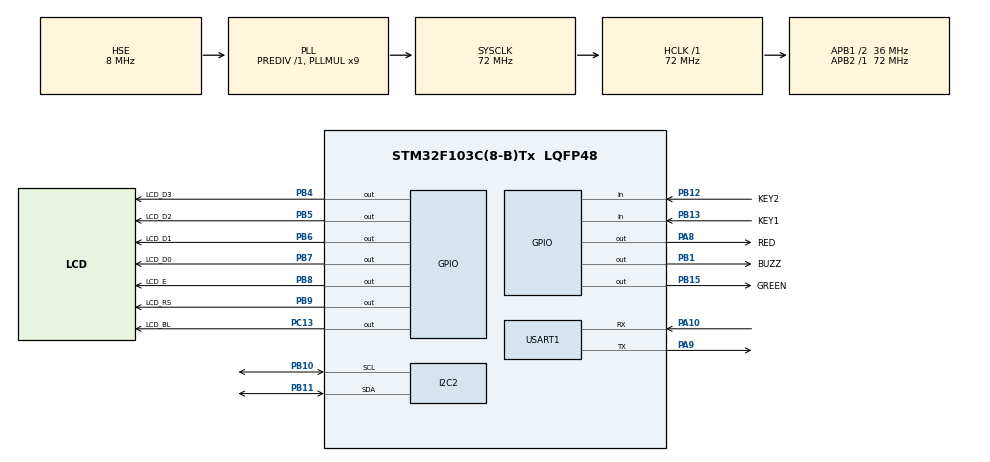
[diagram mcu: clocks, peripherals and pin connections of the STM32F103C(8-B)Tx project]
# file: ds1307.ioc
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Mcu.Family=STM32F1
Mcu.Name=STM32F103C(8-B)Tx
Mcu.Package=LQFP48
NVIC.PriorityGroup=NVIC_PRIORITYGROUP_4
PA10.Mode=Asynchronous
PA10.Signal=USART1_RX
PA8.GPIO_Label=RED
PA8.Signal=GPIO_Output
PA9.Mode=Asynchronous
PA9.Signal=USART1_TX
PB1.GPIO_Label=BUZZ
PB1.Signal=GPIO_Output
PB10.Mode=I2C
PB10.Signal=I2C2_SCL
PB11.Mode=I2C
PB11.Signal=I2C2_SDA
PB12.GPIO_Label=KEY2
PB12.GPIO_PuPd=GPIO_PULLUP
PB12.Signal=GPIO_Input
PB13.GPIO_Label=KEY1
PB13.GPIO_PuPd=GPIO_PULLUP
PB13.Signal=GPIO_Input
PB15.GPIO_Label=GREEN
PB15.Signal=GPIO_Output
PB4.GPIO_Label=LCD_D3
PB4.Signal=GPIO_Output
PB5.GPIO_Label=LCD_D2
PB5.Signal=GPIO_Output
PB6.GPIO_Label=LCD_D1
PB6.Signal=GPIO_Output
PB7.GPIO_Label=LCD_D0
PB7.Signal=GPIO_Output
PB8.GPIO_Label=LCD_E
PB8.Signal=GPIO_Output
PB9.GPIO_Label=LCD_RS
PB9.Signal=GPIO_Output
PC13-TAMPER-RTC.GPIO_Label=LCD_BL
PC13-TAMPER-RTC.Signal=GPIO_Output
PD0-OSC_IN.Mode=HSE-External-Oscillator
PD0-OSC_IN.Signal=RCC_OSC_IN
PD1-OSC_OUT.Mode=HSE-External-Oscillator
PD1-OSC_OUT.Signal=RCC_OSC_OUT
ProjectManager.HeapSize=0x200
ProjectManager.StackSize=0x400
ProjectManager.TargetToolchain=STM32CubeIDE
RCC.AHBFreq_Value=72000000
RCC.APB1CLKDivider=RCC_HCLK_DIV2
RCC.APB1Freq_Value=36000000
RCC.APB1TimFreq_Value=72000000
RCC.APB2Freq_Value=72000000
RCC.APB2TimFreq_Value=72000000
RCC.HCLKFreq_Value=72000000
RCC.PLLMUL=RCC_PLL_MUL9
RCC.PLLSourceVirtual=RCC_PLLSOURCE_HSE
RCC.SYSCLKFreq_VALUE=72000000
RCC.SYSCLKSource=RCC_SYSCLKSOURCE_PLLCLK
RCC.USBFreq_Value=72000000
USART1.VirtualMode=VM_ASYNC
VP_SYS_VS_ND.Mode=No_Debug
board=custom

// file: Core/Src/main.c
/* USER CODE BEGIN Header */
/**
  ******************************************************************************
  * @file           : main.c
  * @brief          : Main program body
  ******************************************************************************
  * @attention
  *
  * Copyright (c) 2026 STMicroelectronics.
  * All rights reserved.
  *
  ******************************************************************************
  */
/* USER CODE END Header */

#include "main.h"

/* USER CODE BEGIN Includes */

#include <stdio.h>
#include <string.h>

/* USER CODE END Includes */

/* USER CODE BEGIN PD */

#define BL_ON  HAL_GPIO_WritePin(LCD_BL_GPIO_Port, LCD_BL_Pin, GPIO_PIN_SET)
#define BL_OFF HAL_GPIO_WritePin(LCD_BL_GPIO_Port, LCD_BL_Pin, GPIO_PIN_RESET)

/* USER CODE END PD */

I2C_HandleTypeDef hi2c2;

UART_HandleTypeDef huart1;

/* USER CODE BEGIN PV */

volatile int sec;
volatile int minute;
volatile int hour;

volatile int day;
volatile int month;
volatile int year;
volatile int dow;

/* USER CODE END PV */

void SystemClock_Config(void);

static void MX_GPIO_Init(void);
static void MX_USART1_UART_Init(void);
static void MX_I2C2_Init(void);

/* USER CODE BEGIN PFP */

void lcd_ins(unsigned char c);
void lcd_putch(char c);
void lcd_clear(void);
void lcd_puts(const char *s);
void lcd_goto(int pos);
void lcd_init(void);

unsigned char b2d(unsigned char d);
unsigned char d2b(unsigned char d);

void startRTC(void);
uint8_t RTC_Check(void);
uint8_t RTC_IsConnected(void);

void writeRTC(void);
HAL_StatusTypeDef readRTC(void);

const char* getDayName(uint8_t day);

void LCD_Display_DateTime(void);

void readMemory(void);
void writeMemory(void);
void initCount(void);

void UART_Receive_String(char *buffer, uint16_t size);
void LCD_Display_UART_String(char *str);

/* USER CODE END PFP */

/* USER CODE BEGIN 0 */

/* ============================================================
   BCD TO DECIMAL
   ============================================================ */

unsigned char b2d(unsigned char d)
{
    return ((d & 0x0F) + (((d & 0xF0) >> 4) * 10));
}

/* ============================================================
   DECIMAL TO BCD
   ============================================================ */

unsigned char d2b(unsigned char d)
{
    return (((d / 10) << 4) & 0xF0) | ((d % 10) & 0x0F);
}

/* ============================================================
   START RTC
   ============================================================ */

void startRTC(void)
{
    uint8_t ss;

    HAL_I2C_Mem_Read(&hi2c2,
                     0xD0,
                     0x00,
                     I2C_MEMADD_SIZE_8BIT,
                     &ss,
                     1,
                     500);

    /* Clear CH bit */
    ss = ss & 0x7F;

    HAL_I2C_Mem_Write(&hi2c2,
                      0xD0,
                      0x00,
                      I2C_MEMADD_SIZE_8BIT,
                      &ss,
                      1,
                      500);
}

/* ============================================================
   RTC CHECK
   ============================================================ */

uint8_t RTC_Check(void)
{
    if (HAL_I2C_IsDeviceReady(&hi2c2,
                              0xD0,
                              3,
                              100) == HAL_OK)
    {
        return 1;
    }

    return 0;
}

/* ============================================================
   RTC WRITE
   ============================================================ */

void writeRTC(void)
{
    uint8_t dd;
    uint8_t mm;
    uint8_t yy;
    uint8_t hh;
    uint8_t mts;
    uint8_t ss;
    uint8_t day_of_week;

    dd = d2b(day);

    mm = d2b(month);

    /* Convert year to 00-99 */

    yy = year;

    if (yy >= 2000)
    {
        yy = yy - 2000;
    }

    yy = d2b(yy);

    hh  = d2b(hour);
    mts = d2b(minute);
    ss  = d2b(sec);

    /* Day of week must be 1-7 */

    day_of_week = (uint8_t)dow;

    /* Seconds */

    HAL_I2C_Mem_Write(&hi2c2,
                      0xD0,
                      0x00,
                      I2C_MEMADD_SIZE_8BIT,
                      &ss,
                      1,
                      500);

    /* Minutes */

    HAL_I2C_Mem_Write(&hi2c2,
                      0xD0,
                      0x01,
                      I2C_MEMADD_SIZE_8BIT,
                      &mts,
                      1,
                      500);

    /* Hours */

    HAL_I2C_Mem_Write(&hi2c2,
                      0xD0,
                      0x02,
                      I2C_MEMADD_SIZE_8BIT,
                      &hh,
                      1,
                      500);

    /* Day of week */

    HAL_I2C_Mem_Write(&hi2c2,
                      0xD0,
                      0x03,
                      I2C_MEMADD_SIZE_8BIT,
                      &day_of_week,
                      1,
                      500);

    /* Date */

    HAL_I2C_Mem_Write(&hi2c2,
                      0xD0,
                      0x04,
                      I2C_MEMADD_SIZE_8BIT,
                      &dd,
                      1,
                      500);

    /* Month */

    HAL_I2C_Mem_Write(&hi2c2,
                      0xD0,
                      0x05,
                      I2C_MEMADD_SIZE_8BIT,
                      &mm,
                      1,
                      500);

    /* Year */

    HAL_I2C_Mem_Write(&hi2c2,
                      0xD0,
                      0x06,
                      I2C_MEMADD_SIZE_8BIT,
                      &yy,
                      1,
                      500);
}

/* ============================================================
   RTC READ
   ============================================================ */

HAL_StatusTypeDef readRTC(void)
{
    uint8_t data[7];

    HAL_StatusTypeDef status;

    status = HAL_I2C_Mem_Read(&hi2c2,
                              0xD0,
                              0x00,
                              I2C_MEMADD_SIZE_8BIT,
                              data,
                              7,
                              500);

    if (status != HAL_OK)
    {
        return status;
    }

    /* Seconds */

    sec = b2d(data[0] & 0x7F);

    /* Minutes */

    minute = b2d(data[1] & 0x7F);

    /* Hours */

    hour = b2d(data[2] & 0x3F);

    /* Day of week */

    dow = data[3] & 0x07;

    /* Date */

    day = b2d(data[4] & 0x3F);

    /* Month */

    month = b2d(data[5] & 0x1F);

    /* Year */

    year = b2d(data[6]) + 2000;

    return HAL_OK;
}

/* ============================================================
   DAY NAME
   ============================================================ */

const char* getDayName(uint8_t day)
{
    switch(day)
    {
        case 1:
            return "SUN";

        case 2:
            return "MON";

        case 3:
            return "TUE";

        case 4:
            return "WED";

        case 5:
            return "THU";

        case 6:
            return "FRI";

        case 7:
            return "SAT";

        default:
            return "---";
    }
}

/* ============================================================
   RTC CONNECTION CHECK
   ============================================================ */

uint8_t RTC_IsConnected(void)
{
    if (HAL_I2C_IsDeviceReady(&hi2c2,
                              0xD0,
                              3,
                              100) == HAL_OK)
    {
        return 1;
    }

    return 0;
}

/* ============================================================
   LCD DISPLAY DATE + TIME
   ============================================================ */

void LCD_Display_DateTime(void)
{
    char line1[17];
    char line2[17];

    /*
       First line:
       DD/MM/YYYY DAY

       Example:
       24/09/2026 THU
    */

    snprintf(line1,
             sizeof(line1),
             "%02d/%02d/%04d %s",
             day,
             month,
             year,
             getDayName(dow));

    /*
       Second line:
       HH:MM:SS

       Example:
       15:09:00
    */

    snprintf(line2,
             sizeof(line2),
             "%02d:%02d:%02d",
             hour,
             minute,
             sec);

    /* Clear LCD */

    lcd_clear();

    /* First line */

    lcd_goto(0);

    lcd_puts(line1);

    /* Second line */

    lcd_goto(0x40);

    lcd_puts(line2);
}

/* ============================================================
   EEPROM SETTINGS
   ============================================================ */

struct SETTING
{
    int count;
};

struct SETTING settings;

/* ============================================================
   EEPROM READ
   ============================================================ */

void readMemory(void)
{
    HAL_I2C_Mem_Read(&hi2c2,
                     0xA0,
                     0,
                     I2C_MEMADD_SIZE_16BIT,
                     (uint8_t*)&settings,
                     sizeof(settings),
                     50);
}

/* ============================================================
   EEPROM WRITE
   ============================================================ */

void writeMemory(void)
{
    HAL_I2C_Mem_Write(&hi2c2,
                      0xA0,
                      0,
                      I2C_MEMADD_SIZE_16BIT,
                      (uint8_t*)&settings,
                      sizeof(settings),
                      50);
}

/* ============================================================
   EEPROM COUNT INITIALIZATION
   ============================================================ */

void initCount(void)
{
    settings.count = 0;

    writeMemory();
}

/* ============================================================
   LCD COMMAND
   4-BIT MODE
   ============================================================ */

void lcd_ins(unsigned char c)
{
    /* RS = 0 for command */

    HAL_GPIO_WritePin(LCD_RS_GPIO_Port,
                      LCD_RS_Pin,
                      GPIO_PIN_RESET);

    /* Higher nibble */

    HAL_GPIO_WritePin(LCD_D0_GPIO_Port,
                      LCD_D0_Pin,
                      (c & 0x10) ? GPIO_PIN_SET : GPIO_PIN_RESET);

    HAL_GPIO_WritePin(LCD_D1_GPIO_Port,
                      LCD_D1_Pin,
                      (c & 0x20) ? GPIO_PIN_SET : GPIO_PIN_RESET);

    HAL_GPIO_WritePin(LCD_D2_GPIO_Port,
                      LCD_D2_Pin,
                      (c & 0x40) ? GPIO_PIN_SET : GPIO_PIN_RESET);

    HAL_GPIO_WritePin(LCD_D3_GPIO_Port,
                      LCD_D3_Pin,
                      (c & 0x80) ? GPIO_PIN_SET : GPIO_PIN_RESET);

    /* Enable */

    HAL_GPIO_WritePin(LCD_E_GPIO_Port,
                      LCD_E_Pin,
                      GPIO_PIN_SET);

    HAL_Delay(1);

    HAL_GPIO_WritePin(LCD_E_GPIO_Port,
                      LCD_E_Pin,
                      GPIO_PIN_RESET);

    /* Lower nibble */

    HAL_GPIO_WritePin(LCD_D0_GPIO_Port,
                      LCD_D0_Pin,
                      (c & 0x01) ? GPIO_PIN_SET : GPIO_PIN_RESET);

    HAL_GPIO_WritePin(LCD_D1_GPIO_Port,
                      LCD_D1_Pin,
                      (c & 0x02) ? GPIO_PIN_SET : GPIO_PIN_RESET);

    HAL_GPIO_WritePin(LCD_D2_GPIO_Port,
                      LCD_D2_Pin,
                      (c & 0x04) ? GPIO_PIN_SET : GPIO_PIN_RESET);

    HAL_GPIO_WritePin(LCD_D3_GPIO_Port,
                      LCD_D3_Pin,
                      (c & 0x08) ? GPIO_PIN_SET : GPIO_PIN_RESET);

    /* Enable */

    HAL_GPIO_WritePin(LCD_E_GPIO_Port,
                      LCD_E_Pin,
                      GPIO_PIN_SET);

    HAL_Delay(1);

    HAL_GPIO_WritePin(LCD_E_GPIO_Port,
                      LCD_E_Pin,
                      GPIO_PIN_RESET);
}

/* ============================================================
   LCD CHARACTER
   ============================================================ */

void lcd_putch(char c)
{
    /* RS = 1 for data */

    HAL_GPIO_WritePin(LCD_RS_GPIO_Port,
                      LCD_RS_Pin,
                      GPIO_PIN_SET);

    /* Higher nibble */

    HAL_GPIO_WritePin(LCD_D0_GPIO_Port,
                      LCD_D0_Pin,
                      (c & 0x10) ? GPIO_PIN_SET : GPIO_PIN_RESET);

    HAL_GPIO_WritePin(LCD_D1_GPIO_Port,
                      LCD_D1_Pin,
                      (c & 0x20) ? GPIO_PIN_SET : GPIO_PIN_RESET);

    HAL_GPIO_WritePin(LCD_D2_GPIO_Port,
                      LCD_D2_Pin,
                      (c & 0x40) ? GPIO_PIN_SET : GPIO_PIN_RESET);

    HAL_GPIO_WritePin(LCD_D3_GPIO_Port,
                      LCD_D3_Pin,
                      (c & 0x80) ? GPIO_PIN_SET : GPIO_PIN_RESET);

    HAL_GPIO_WritePin(LCD_E_GPIO_Port,
                      LCD_E_Pin,
                      GPIO_PIN_SET);

    HAL_Delay(1);

    HAL_GPIO_WritePin(LCD_E_GPIO_Port,
                      LCD_E_Pin,
                      GPIO_PIN_RESET);

    /* Lower nibble */

    HAL_GPIO_WritePin(LCD_D0_GPIO_Port,
                      LCD_D0_Pin,
                      (c & 0x01) ? GPIO_PIN_SET : GPIO_PIN_RESET);

    HAL_GPIO_WritePin(LCD_D1_GPIO_Port,
                      LCD_D1_Pin,
                      (c & 0x02) ? GPIO_PIN_SET : GPIO_PIN_RESET);

    HAL_GPIO_WritePin(LCD_D2_GPIO_Port,
                      LCD_D2_Pin,
                      (c & 0x04) ? GPIO_PIN_SET : GPIO_PIN_RESET);

    HAL_GPIO_WritePin(LCD_D3_GPIO_Port,
                      LCD_D3_Pin,
                      (c & 0x08) ? GPIO_PIN_SET : GPIO_PIN_RESET);

    HAL_GPIO_WritePin(LCD_E_GPIO_Port,
                      LCD_E_Pin,
                      GPIO_PIN_SET);

    HAL_Delay(1);

    HAL_GPIO_WritePin(LCD_E_GPIO_Port,
                      LCD_E_Pin,
                      GPIO_PIN_RESET);
}

/* ============================================================
   LCD CLEAR
   ============================================================ */

void lcd_clear(void)
{
    lcd_ins(0x01);

    HAL_Delay(2);
}

/* ============================================================
   LCD STRING
   ============================================================ */

void lcd_puts(const char *s)
{
    while (*s)
    {
        lcd_putch(*s);

        s++;

        HAL_Delay(1);
    }
}

/* ============================================================
   LCD GOTO
   ============================================================ */

void lcd_goto(int pos)
{
    lcd_ins(0x80 + pos);
}

/* ============================================================
   LCD INITIALIZATION
   ============================================================ */

void lcd_init(void)
{
    HAL_Delay(20);

    lcd_ins(0x03);

    HAL_Delay(5);

    lcd_ins(0x03);

    HAL_Delay(5);

    lcd_ins(0x03);

    HAL_Delay(1);

    lcd_ins(0x02);

    HAL_Delay(1);

    /* 4-bit, 2-line, 5x7 font */

    lcd_ins(0x28);

    /* Display ON, cursor OFF, blink OFF */

    lcd_ins(0x0C);

    /* Clear */

    lcd_ins(0x01);

    HAL_Delay(2);

    /* Entry mode */

    lcd_ins(0x06);
}

/* ============================================================
   UART STRING RECEIVE
   ============================================================ */

void UART_Receive_String(char *buffer, uint16_t size)
{
    uint16_t i = 0;

    uint8_t ch;

    /* Wait for first actual character */

    while (1)
    {
        HAL_UART_Receive(&huart1,
                         &ch,
                         1,
                         HAL_MAX_DELAY);

        if (ch != '\r' && ch != '\n')
        {
            break;
        }
    }

    /* Receive until ENTER */

    while (i < size - 1)
    {
        buffer[i++] = ch;

        HAL_UART_Receive(&huart1,
                         &ch,
                         1,
                         HAL_MAX_DELAY);

        if (ch == '\r' || ch == '\n')
        {
            break;
        }
    }

    /* Null terminate */

    buffer[i] = '\0';

    /* Flush extra characters */

    if (ch != '\r' && ch != '\n')
    {
        while (1)
        {
            HAL_UART_Receive(&huart1,
                             &ch,
                             1,
                             HAL_MAX_DELAY);

            if (ch == '\r' || ch == '\n')
            {
                break;
            }
        }
    }
}

/* ============================================================
   DISPLAY UART STRING ON LCD
   ============================================================ */

void LCD_Display_UART_String(char *str)
{
    uint8_t i = 0;

    lcd_clear();

    /* First line */

    lcd_goto(0);

    while (str[i] != '\0' && i < 16)
    {
        lcd_putch(str[i]);

        i++;
    }

    /* Second line */

    lcd_goto(0x40);

    while (str[i] != '\0' && i < 32)
    {
        lcd_putch(str[i]);

        i++;
    }
}

/* USER CODE END 0 */

int main(void)
{
    /* USER CODE BEGIN 1 */

    char str[128];

    /* Avoid unused-variable warning */
    (void)str;

    /* USER CODE END 1 */

    /* MCU Configuration */

    HAL_Init();

    /* Configure system clock */

    SystemClock_Config();

    /* Initialize peripherals */

    MX_GPIO_Init();

    MX_USART1_UART_Init();

    MX_I2C2_Init();

    /* USER CODE BEGIN 2 */

    /* ========================================================
       LCD INITIALIZATION
       ======================================================== */

    lcd_init();

    lcd_ins(0x0C);

    /* ========================================================
       LCD BACKLIGHT ON
       ======================================================== */

    BL_ON;

    /* ========================================================
       START RTC
       ======================================================== */

    startRTC();

    /* ========================================================
       CHECK RTC
       ======================================================== */

    if (RTC_IsConnected())
    {
        lcd_clear();

        lcd_goto(0);

        lcd_puts("RTC CONNECTED");

        HAL_Delay(1000);
    }
    else
    {
        lcd_clear();

        lcd_goto(0);

        lcd_puts("RTC NOT FOUND");

        HAL_Delay(2000);
    }

    /* ========================================================
       READ RTC
       ======================================================== */

    readRTC();

    /* ========================================================
       EEPROM
       ======================================================== */

    readMemory();

    settings.count++;

    writeMemory();

    /* USER CODE END 2 */

    /* Infinite loop */

    while (1)
    {
        /* ====================================================
           KEY1
           RED LED + BUZZER + RESET EEPROM COUNT
           ==================================================== */

        if (HAL_GPIO_ReadPin(KEY1_GPIO_Port,
                             KEY1_Pin) == GPIO_PIN_RESET)
        {
            HAL_GPIO_WritePin(RED_GPIO_Port,
                              RED_Pin,
                              GPIO_PIN_SET);

            HAL_GPIO_WritePin(BUZZ_GPIO_Port,
                              BUZZ_Pin,
                              GPIO_PIN_SET);

            settings.count = 0;

            writeMemory();

            HAL_UART_Transmit(&huart1,
                              (uint8_t*)"COUNT RESET\r\n",
                              strlen("COUNT RESET\r\n"),
                              500);
        }
        else
        {
            HAL_GPIO_WritePin(RED_GPIO_Port,
                              RED_Pin,
                              GPIO_PIN_RESET);

            HAL_GPIO_WritePin(BUZZ_GPIO_Port,
                              BUZZ_Pin,
                              GPIO_PIN_RESET);
        }

        /* ====================================================
           KEY2
           GREEN LED + SET RTC
           ==================================================== */

        if (HAL_GPIO_ReadPin(KEY2_GPIO_Port,
                             KEY2_Pin) == GPIO_PIN_RESET)
        {
            HAL_GPIO_WritePin(GREEN_GPIO_Port,
                              GREEN_Pin,
                              GPIO_PIN_SET);

            /*
               RTC SETTING

               24 September 2026
               15:09:00
               Thursday = 5
            */

            year   = 2026;
            month  = 9;
            day    = 24;

            hour   = 15;
            minute = 9;
            sec    = 0;

            dow    = 5;

            writeRTC();

            HAL_UART_Transmit(&huart1,
                              (uint8_t*)"RTC SET\r\n",
                              strlen("RTC SET\r\n"),
                              500);

            HAL_Delay(300);
        }
        else
        {
            HAL_GPIO_WritePin(GREEN_GPIO_Port,
                              GREEN_Pin,
                              GPIO_PIN_RESET);
        }

        /* ====================================================
           READ RTC
           ==================================================== */

        if (readRTC() == HAL_OK)
        {
            LCD_Display_DateTime();
        }
        else
        {
            /* RTC communication failed */

            lcd_clear();

            lcd_goto(0);

            lcd_puts("RTC READ ERROR");

            HAL_UART_Transmit(&huart1,
                              (uint8_t*)"RTC READ ERROR\r\n",
                              strlen("RTC READ ERROR\r\n"),
                              500);
        }

        /* Update every 1 second */

        HAL_Delay(1000);
    }
}

void SystemClock_Config(void)
{
    RCC_OscInitTypeDef RCC_OscInitStruct = {0};

    RCC_ClkInitTypeDef RCC_ClkInitStruct = {0};

    /* HSE + PLL */

    RCC_OscInitStruct.OscillatorType =
        RCC_OSCILLATORTYPE_HSE;

    RCC_OscInitStruct.HSEState =
        RCC_HSE_ON;

    RCC_OscInitStruct.HSEPredivValue =
        RCC_HSE_PREDIV_DIV1;

    RCC_OscInitStruct.HSIState =
        RCC_HSI_ON;

    RCC_OscInitStruct.PLL.PLLState =
        RCC_PLL_ON;

    RCC_OscInitStruct.PLL.PLLSource =
        RCC_PLLSOURCE_HSE;

    RCC_OscInitStruct.PLL.PLLMUL =
        RCC_PLL_MUL9;

    if (HAL_RCC_OscConfig(&RCC_OscInitStruct) != HAL_OK)
    {
        Error_Handler();
    }

    /* CPU, AHB and APB clocks */

    RCC_ClkInitStruct.ClockType =
        RCC_CLOCKTYPE_HCLK |
        RCC_CLOCKTYPE_SYSCLK |
        RCC_CLOCKTYPE_PCLK1 |
        RCC_CLOCKTYPE_PCLK2;

    RCC_ClkInitStruct.SYSCLKSource =
        RCC_SYSCLKSOURCE_PLLCLK;

    RCC_ClkInitStruct.AHBCLKDivider =
        RCC_SYSCLK_DIV1;

    RCC_ClkInitStruct.APB1CLKDivider =
        RCC_HCLK_DIV2;

    RCC_ClkInitStruct.APB2CLKDivider =
        RCC_HCLK_DIV1;

    if (HAL_RCC_ClockConfig(&RCC_ClkInitStruct,
                            FLASH_LATENCY_2) != HAL_OK)
    {
        Error_Handler();
    }
}

static void MX_I2C2_Init(void)
{
    hi2c2.Instance = I2C2;

    hi2c2.Init.ClockSpeed = 100000;

    hi2c2.Init.DutyCycle =
        I2C_DUTYCYCLE_2;

    hi2c2.Init.OwnAddress1 = 0;

    hi2c2.Init.AddressingMode =
        I2C_ADDRESSINGMODE_7BIT;

    hi2c2.Init.DualAddressMode =
        I2C_DUALADDRESS_DISABLE;

    hi2c2.Init.OwnAddress2 = 0;

    hi2c2.Init.GeneralCallMode =
        I2C_GENERALCALL_DISABLE;

    hi2c2.Init.NoStretchMode =
        I2C_NOSTRETCH_DISABLE;

    if (HAL_I2C_Init(&hi2c2) != HAL_OK)
    {
        Error_Handler();
    }
}

static void MX_USART1_UART_Init(void)
{
    huart1.Instance = USART1;

    huart1.Init.BaudRate = 115200;

    huart1.Init.WordLength =
        UART_WORDLENGTH_8B;

    huart1.Init.StopBits =
        UART_STOPBITS_1;

    huart1.Init.Parity =
        UART_PARITY_NONE;

    huart1.Init.Mode =
        UART_MODE_TX_RX;

    huart1.Init.HwFlowCtl =
        UART_HWCONTROL_NONE;

    huart1.Init.OverSampling =
        UART_OVERSAMPLING_16;

    if (HAL_UART_Init(&huart1) != HAL_OK)
    {
        Error_Handler();
    }
}

static void MX_GPIO_Init(void)
{
    GPIO_InitTypeDef GPIO_InitStruct = {0};

    /* GPIO Ports Clock Enable */

    __HAL_RCC_GPIOC_CLK_ENABLE();

    __HAL_RCC_GPIOD_CLK_ENABLE();

    __HAL_RCC_GPIOB_CLK_ENABLE();

    __HAL_RCC_GPIOA_CLK_ENABLE();

    /* ========================================================
       INITIAL OUTPUT STATES
       ======================================================== */

    /* LCD Backlight OFF initially */

    HAL_GPIO_WritePin(LCD_BL_GPIO_Port,
                      LCD_BL_Pin,
                      GPIO_PIN_RESET);

    /* LCD + BUZZER + GREEN OFF */

    HAL_GPIO_WritePin(GPIOB,
                      BUZZ_Pin |
                      GREEN_Pin |
                      LCD_D3_Pin |
                      LCD_D2_Pin |
                      LCD_D1_Pin |
                      LCD_D0_Pin |
                      LCD_E_Pin |
                      LCD_RS_Pin,
                      GPIO_PIN_RESET);

    /* RED OFF */

    HAL_GPIO_WritePin(RED_GPIO_Port,
                      RED_Pin,
                      GPIO_PIN_RESET);

    /* ========================================================
       LCD BACKLIGHT PIN
       ======================================================== */

    GPIO_InitStruct.Pin =
        LCD_BL_Pin;

    GPIO_InitStruct.Mode =
        GPIO_MODE_OUTPUT_PP;

    GPIO_InitStruct.Pull =
        GPIO_NOPULL;

    GPIO_InitStruct.Speed =
        GPIO_SPEED_FREQ_LOW;

    HAL_GPIO_Init(LCD_BL_GPIO_Port,
                  &GPIO_InitStruct);

    /* ========================================================
       LCD + BUZZER + GREEN
       ======================================================== */

    GPIO_InitStruct.Pin =
        BUZZ_Pin |
        GREEN_Pin |
        LCD_D3_Pin |
        LCD_D2_Pin |
        LCD_D1_Pin |
        LCD_D0_Pin |
        LCD_E_Pin |
        LCD_RS_Pin;

    GPIO_InitStruct.Mode =
        GPIO_MODE_OUTPUT_PP;

    GPIO_InitStruct.Pull =
        GPIO_NOPULL;

    GPIO_InitStruct.Speed =
        GPIO_SPEED_FREQ_LOW;

    HAL_GPIO_Init(GPIOB,
                  &GPIO_InitStruct);

    /* ========================================================
       KEY2
       ======================================================== */

    GPIO_InitStruct.Pin =
        KEY2_Pin;

    GPIO_InitStruct.Mode =
        GPIO_MODE_INPUT;

    GPIO_InitStruct.Pull =
        GPIO_NOPULL;

    HAL_GPIO_Init(KEY2_GPIO_Port,
                  &GPIO_InitStruct);

    /* ========================================================
       KEY1
       ======================================================== */

    GPIO_InitStruct.Pin =
        KEY1_Pin;

    GPIO_InitStruct.Mode =
        GPIO_MODE_INPUT;

    GPIO_InitStruct.Pull =
        GPIO_PULLUP;

    HAL_GPIO_Init(KEY1_GPIO_Port,
                  &GPIO_InitStruct);

    /* ========================================================
       RED LED
       ======================================================== */

    GPIO_InitStruct.Pin =
        RED_Pin;

    GPIO_InitStruct.Mode =
        GPIO_MODE_OUTPUT_PP;

    GPIO_InitStruct.Pull =
        GPIO_NOPULL;

    GPIO_InitStruct.Speed =
        GPIO_SPEED_FREQ_LOW;

    HAL_GPIO_Init(RED_GPIO_Port,
                  &GPIO_InitStruct);
}

void Error_Handler(void)
{
    __disable_irq();

    while (1)
    {
    }
}
